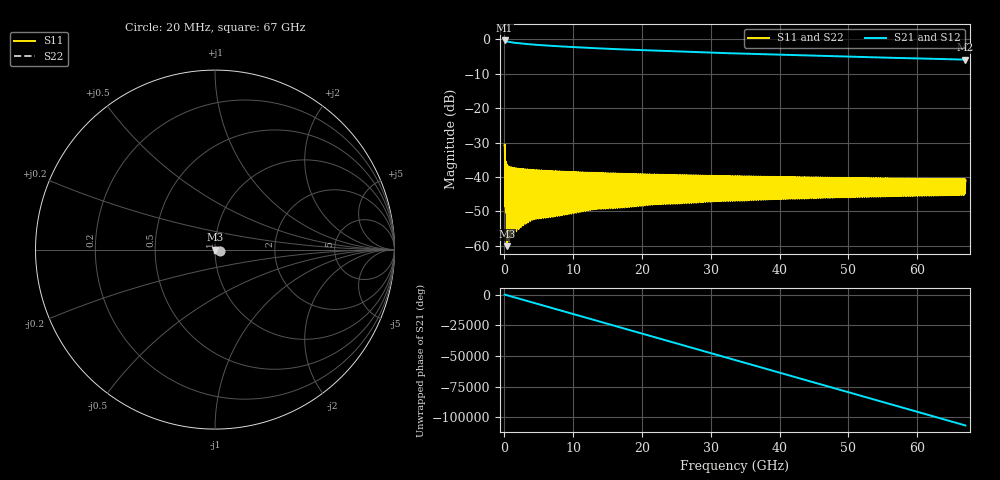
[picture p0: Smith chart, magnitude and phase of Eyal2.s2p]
# MHz MA S R 50.0
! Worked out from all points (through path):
!   3350 points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, 20 MHz to 67 GHz, reference 50 ohm
!   highest |S21| = -0.29 dB at 20 MHz (marker M1); lowest = -5.9 dB at 67 GHz (marker M2)
!   lowest |S11| = -60.1 dB at 340 MHz (marker M3), VSWR 1.00, Z = 50.1 - j0.0294 ohm
!   |S11| at or under -10 dB: start of sweep to end of sweep
!   |S22| runs from -60.1 to -30.5 dB; largest |S21 - S12| = 0
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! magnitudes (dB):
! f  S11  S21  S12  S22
! 20 MHz  -30.8  -0.3  -0.3  -30.8
! 340 MHz  -60.1  -0.6  -0.6  -60.1
! 380 MHz  -37.4  -0.6  -0.6  -37.4
! 500 MHz  -37.1  -0.6  -0.6  -37.1
! 640 MHz  -38.0  -0.7  -0.7  -38.0
! 680 MHz  -58.6  -0.7  -0.7  -58.6
! 960 MHz  -37.2  -0.8  -0.8  -37.2
! 1.02 GHz  -57.4  -0.8  -0.8  -57.4
! 1.08 GHz  -37.3  -0.8  -0.8  -37.3
! 1.36 GHz  -56.5  -0.9  -0.9  -56.5
! 1.64 GHz  -37.5  -1.0  -1.0  -37.5
! 1.7 GHz  -55.8  -1.0  -1.0  -55.8
! 1.98 GHz  -37.6  -1.1  -1.1  -37.6
! 2.04 GHz  -55.1  -1.1  -1.1  -55.1
! 2.32 GHz  -37.6  -1.2  -1.2  -37.6
! 11.2 GHz  -46.6  -2.3  -2.3  -46.6
! 22.36 GHz  -39.4  -3.3  -3.3  -39.4
! 33.52 GHz  -46.9  -4.1  -4.1  -46.9
! 44.68 GHz  -40.2  -4.7  -4.7  -40.2
! 55.84 GHz  -45.1  -5.3  -5.3  -45.1
! 66.64 GHz  -40.7  -5.8  -5.8  -40.7
! 67 GHz  -41.1  -5.9  -5.9  -41.1
